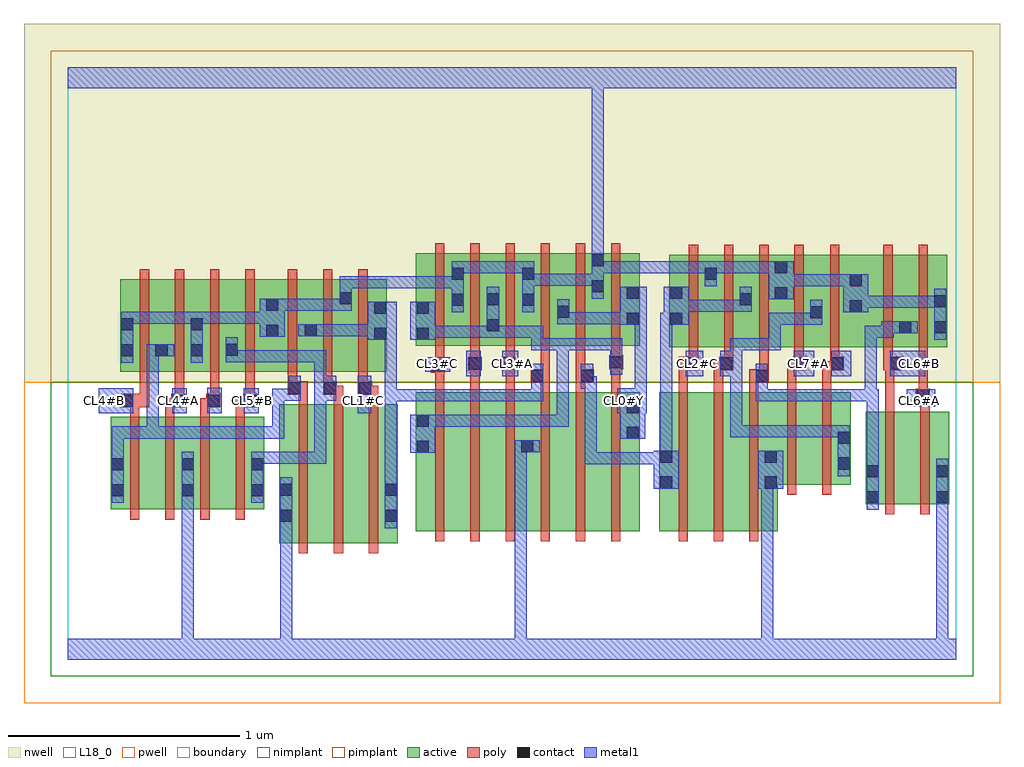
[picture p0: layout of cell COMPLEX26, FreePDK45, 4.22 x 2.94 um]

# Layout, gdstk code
import gdstk
lib = gdstk.Library(unit=1e-6, precision=1e-09)
def R(c, l, rs):  # rectangles x0, y0, x1, y1
    for r in rs: c.add(gdstk.rectangle(r[:2], r[2:], *l))
def A(c, l, x, y, w, h, nx, ny, dx, dy):  # array of equal rectangles
    R(c, l, [(x+i*dx, y+j*dy, x+i*dx+w, y+j*dy+h) for i in range(nx) for j in range(ny)])
active = (1, 0)
pwell = (2, 0)
nwell = (3, 0)
nimplant = (4, 0)
pimplant = (5, 0)
poly = (9, 0)
contact = (10, 0)
metal1 = (11, 0)
L18_0 = (18, 0)
boundary = (235, 0)

complex26 = lib.new_cell('COMPLEX26')
A(complex26, active, 2.748, 1.35, 0.212, 0.4, 3, 1, 0.152, 0)
A(complex26, active, 1.504, 1.356, 0.212, 0.4, 4, 1, 0.152, 0)
R(complex26, active, [(0.914,0.504,0.974,1.104), (0.914,0.504,1.094,1.104), (1.094,0.504,1.246,1.104), (1.246,0.504,1.426,1.104), (1.366,0.504,1.426,1.104), (1.504,0.556,1.564,1.156), (1.504,0.556,1.684,1.156), (1.684,0.556,1.836,1.156), (1.836,0.556,2.016,1.156), (1.956,0.556,2.016,1.156), (1.956,0.556,2.14,1.156), (2.14,0.556,2.292,1.156), (2.292,0.556,2.472,1.156), (2.412,0.556,2.472,1.156), (2.556,0.556,2.616,1.156), (2.556,0.556,2.736,1.156), (2.736,0.556,2.888,1.156), (2.888,0.556,3.068,1.156), (3.008,0.556,3.068,1.156), (0.186,0.65,0.366,1.05), (0.366,0.65,0.55,1.05), (0.49,0.65,0.55,1.05), (0.49,0.65,0.67,1.05), (0.67,0.65,0.85,1.05), (0.79,0.65,0.85,1.05), (3.448,0.672,3.508,1.072), (3.448,0.672,3.628,1.072), (3.628,0.672,3.808,1.072), (3.748,0.672,3.808,1.072), (0.186,0.702,0.246,1.05), (3.008,0.756,3.204,1.156), (3.204,0.756,3.384,1.156), (3.324,0.756,3.384,1.156), (0.228,1.244,0.288,1.644), (0.228,1.244,0.436,1.644), (0.376,1.244,0.436,1.644), (0.376,1.244,0.588,1.644), (0.528,1.244,0.74,1.644), (0.68,1.244,0.914,1.644), (0.854,1.244,0.914,1.644), (0.854,1.244,1.08,1.644), (1.02,1.244,1.232,1.644), (1.172,1.244,1.232,1.644), (1.172,1.244,1.38,1.644), (1.32,1.244,1.38,1.644), (0.528,1.308,0.588,1.644), (0.68,1.31,0.74,1.644), (2.6,1.35,2.66,1.75), (2.6,1.35,2.808,1.75), (3.204,1.35,3.434,1.75), (3.374,1.35,3.648,1.75), (3.588,1.35,3.8,1.75), (3.74,1.35,3.8,1.75), (1.504,1.356,1.564,1.756), (1.808,1.356,1.868,1.756), (2.112,1.356,2.32,1.756), (2.26,1.356,2.472,1.756), (2.412,1.356,2.472,1.644), (1.02,1.394,1.08,1.644), (3.588,1.406,3.648,1.644), (1.96,1.444,2.02,1.756), (1.656,1.47,1.716,1.756), (2.112,1.472,2.172,1.756), (2.26,1.472,2.32,1.756), (3.204,1.472,3.264,1.644), (3.374,1.49,3.434,1.75), (3.052,1.498,3.112,1.726), (2.9,1.528,2.96,1.644), (2.748,1.554,2.808,1.75)])
R(complex26, pwell, [(-0.188,-0.188,4.028,1.2)])
R(complex26, nwell, [(-0.188,1.2,4.028,2.748)])
R(complex26, nimplant, [(-0.072,-0.072,3.912,1.2)])
R(complex26, pimplant, [(-0.072,1.2,3.912,2.632)])
A(complex26, poly, 0.998, 0.46, 0.04, 0.688, 3, 1, 0.152, 0)
A(complex26, poly, 1.588, 0.512, 0.04, 0.688, 6, 1, 0.152, 0)
A(complex26, poly, 2.64, 0.512, 0.04, 0.688, 3, 1, 0.152, 0)
A(complex26, poly, 0.27, 0.606, 0.04, 0.488, 4, 1, 0.152, 0)
A(complex26, poly, 0.27, 1.054, 0.04, 0.076, 4, 1, 0.152, 0)
A(complex26, poly, 0.998, 1.108, 0.04, 0.076, 3, 1, 0.152, 0)
A(complex26, poly, 0.312, 1.11, 0.04, 0.13, 4, 1, 0.152, 0)
A(complex26, poly, 0.952, 1.164, 0.04, 0.076, 3, 1, 0.152, 0)
A(complex26, poly, 0.312, 1.2, 0.04, 0.488, 4, 1, 0.152, 0)
A(complex26, poly, 0.952, 1.2, 0.04, 0.488, 3, 1, 0.152, 0)
A(complex26, poly, 2.684, 1.306, 0.04, 0.488, 4, 1, 0.152, 0)
A(complex26, poly, 1.588, 1.312, 0.04, 0.488, 6, 1, 0.152, 0)
R(complex26, poly, [(3.532,0.628,3.572,1.116), (3.684,0.628,3.724,1.116), (3.108,0.712,3.148,1.2), (3.26,0.712,3.3,1.2), (3.532,1.076,3.572,1.29), (3.684,1.076,3.724,1.152), (0.228,1.09,0.352,1.15), (0.27,1.09,0.31,1.13), (0.27,1.09,0.31,1.13), (0.422,1.09,0.488,1.13), (0.448,1.09,0.488,1.13), (0.448,1.09,0.508,1.15), (0.574,1.09,0.64,1.13), (0.6,1.09,0.64,1.13), (0.6,1.09,0.66,1.15), (0.726,1.09,0.8,1.13), (0.76,1.09,0.8,1.13), (0.76,1.09,0.82,1.15), (3.664,1.112,3.724,1.172), (3.676,1.132,3.716,1.346), (3.676,1.132,3.716,1.172), (3.676,1.132,3.716,1.172), (0.952,1.144,1.038,1.204), (1.104,1.144,1.164,1.204), (1.124,1.144,1.164,1.184), (1.124,1.144,1.19,1.184), (1.256,1.144,1.316,1.204), (1.276,1.144,1.316,1.184), (1.276,1.144,1.342,1.184), (1.588,1.16,1.628,1.28), (1.74,1.16,1.78,1.29), (1.892,1.16,1.932,1.29), (2.044,1.16,2.084,1.236), (2.196,1.16,2.236,1.236), (2.348,1.16,2.388,1.296), (2.64,1.16,2.68,1.29), (2.792,1.16,2.832,1.29), (2.944,1.16,2.984,1.236), (3.108,1.16,3.148,1.29), (3.26,1.16,3.3,1.29), (0.952,1.164,0.992,1.204), (0.952,1.164,0.992,1.204), (2,1.196,2.084,1.256), (2.196,1.196,2.274,1.256), (2.944,1.196,3.028,1.256), (2.044,1.216,2.084,1.256), (2.044,1.216,2.084,1.256), (2.044,1.216,2.084,1.352), (2.196,1.216,2.236,1.256), (2.196,1.216,2.236,1.256), (2.196,1.216,2.236,1.352), (2.988,1.216,3.028,1.256), (2.988,1.216,3.028,1.256), (2.988,1.216,3.028,1.346), (1.57,1.24,1.63,1.3), (1.588,1.24,1.628,1.28), (1.588,1.24,1.628,1.28), (1.73,1.25,1.79,1.31), (1.74,1.25,1.78,1.29), (1.74,1.25,1.78,1.29), (1.874,1.25,1.934,1.31), (1.892,1.25,1.932,1.29), (1.892,1.25,1.932,1.29), (2.64,1.25,2.726,1.31), (2.792,1.25,2.856,1.29), (2.816,1.25,2.856,1.29), (2.816,1.25,2.876,1.31), (3.108,1.25,3.174,1.29), (3.134,1.25,3.174,1.29), (3.134,1.25,3.194,1.31), (3.26,1.25,3.334,1.29), (3.294,1.25,3.334,1.29), (3.294,1.25,3.354,1.31), (3.524,1.25,3.61,1.31), (3.532,1.25,3.572,1.29), (3.532,1.25,3.572,1.29), (2.34,1.256,2.4,1.316), (2.348,1.256,2.388,1.296), (2.348,1.256,2.388,1.296), (1.588,1.26,1.628,1.352), (1.74,1.27,1.78,1.352), (1.892,1.27,1.932,1.352), (2.684,1.27,2.724,1.31), (2.684,1.27,2.724,1.31), (2.684,1.27,2.724,1.346), (2.836,1.27,2.876,1.346), (3.14,1.27,3.18,1.346), (3.294,1.27,3.334,1.346), (3.524,1.27,3.564,1.346), (2.348,1.276,2.388,1.352), (3.294,1.306,3.334,1.794), (3.524,1.306,3.564,1.794), (3.676,1.306,3.716,1.794)])
A(complex26, contact, 0.956, 1.148, 0.052, 0.052, 3, 1, 0.152, 0)
R(complex26, contact, [(0.918,0.596,0.97,0.648), (1.37,0.596,1.422,0.648), (3.452,0.676,3.504,0.728), (3.752,0.676,3.804,0.728), (0.19,0.706,0.242,0.758), (0.494,0.706,0.546,0.758), (0.794,0.706,0.846,0.758), (0.918,0.708,0.97,0.76), (1.37,0.708,1.422,0.76), (2.56,0.74,2.612,0.792), (3.012,0.74,3.064,0.792), (3.452,0.788,3.504,0.84), (3.752,0.788,3.804,0.84), (0.19,0.818,0.242,0.87), (0.494,0.818,0.546,0.87), (0.794,0.818,0.846,0.87), (3.328,0.822,3.38,0.874), (2.56,0.852,2.612,0.904), (3.012,0.852,3.064,0.904), (1.508,0.894,1.56,0.946), (1.96,0.896,2.012,0.948), (3.328,0.934,3.38,0.986), (2.416,0.954,2.468,1.006), (1.508,1.006,1.56,1.058), (2.416,1.066,2.468,1.118), (0.232,1.094,0.284,1.146), (0.452,1.094,0.504,1.146), (0.604,1.094,0.656,1.146), (0.764,1.094,0.816,1.146), (3.668,1.116,3.72,1.168), (2.004,1.2,2.056,1.252), (2.218,1.2,2.27,1.252), (2.972,1.2,3.024,1.252), (1.574,1.244,1.626,1.296), (1.734,1.254,1.786,1.306), (1.878,1.254,1.93,1.306), (2.67,1.254,2.722,1.306), (2.82,1.254,2.872,1.306), (3.138,1.254,3.19,1.306), (3.298,1.254,3.35,1.306), (3.554,1.254,3.606,1.306), (2.344,1.26,2.396,1.312), (0.232,1.312,0.284,1.364), (0.38,1.312,0.432,1.364), (0.532,1.312,0.584,1.364), (0.684,1.314,0.736,1.366), (1.324,1.382,1.376,1.434), (1.508,1.382,1.56,1.434), (0.858,1.396,0.91,1.448), (1.024,1.398,1.076,1.45), (3.592,1.41,3.644,1.462), (3.744,1.41,3.796,1.462), (1.812,1.42,1.864,1.472), (0.232,1.424,0.284,1.476), (0.532,1.424,0.584,1.476), (2.416,1.448,2.468,1.5), (2.604,1.448,2.656,1.5), (3.208,1.476,3.26,1.528), (2.116,1.478,2.168,1.53), (1.324,1.494,1.376,1.546), (1.508,1.494,1.56,1.546), (3.378,1.502,3.43,1.554), (0.858,1.508,0.91,1.56), (3.744,1.522,3.796,1.574), (1.66,1.53,1.712,1.582), (1.964,1.53,2.016,1.582), (1.812,1.532,1.864,1.584), (2.904,1.532,2.956,1.584), (1.176,1.536,1.228,1.588), (3.056,1.558,3.108,1.61), (2.416,1.56,2.468,1.612), (2.604,1.56,2.656,1.612), (2.264,1.588,2.316,1.64), (3.378,1.614,3.43,1.666), (1.66,1.642,1.712,1.694), (1.964,1.642,2.016,1.694), (2.752,1.642,2.804,1.694), (3.056,1.67,3.108,1.722), (2.264,1.7,2.316,1.752)])
A(complex26, metal1, 2.004, 1.006, 0.052, 0.052, 1, 3, 0, 0.166)
R(complex26, metal1, [(0,0,3.84,0.092), (0.494,0.04,0.546,0.092), (0.494,0.04,0.546,0.092), (0.494,0.04,0.546,0.092), (0.494,0.04,0.546,0.092), (0.494,0.04,0.546,0.092), (0.494,0.04,0.546,0.092), (0.494,0.04,0.546,0.73), (0.918,0.04,0.97,0.092), (0.918,0.04,0.97,0.092), (0.918,0.04,0.97,0.62), (1.932,0.04,1.984,0.092), (1.932,0.04,1.984,0.092), (1.932,0.04,1.984,0.948), (2.996,0.04,3.048,0.092), (2.996,0.04,3.048,0.092), (2.996,0.04,3.048,0.792), (3.752,0.04,3.804,0.092), (3.752,0.04,3.804,0.092), (3.752,0.04,3.804,0.7), (0.918,0.568,0.97,0.62), (0.918,0.568,0.97,0.62), (0.918,0.568,0.97,0.62), (0.918,0.568,0.97,0.62), (0.918,0.568,0.97,0.62), (0.918,0.568,0.97,0.62), (0.918,0.568,0.97,0.788), (1.37,0.568,1.422,0.788), (3.452,0.648,3.504,0.868), (3.752,0.648,3.804,0.7), (3.752,0.648,3.804,0.7), (3.752,0.648,3.804,0.7), (3.752,0.648,3.804,0.7), (3.752,0.648,3.804,0.7), (3.752,0.648,3.804,0.7), (3.752,0.648,3.804,0.7), (3.752,0.648,3.804,0.7), (3.752,0.648,3.804,0.7), (3.752,0.648,3.804,0.7), (3.752,0.648,3.804,0.868), (0.19,0.678,0.242,0.898), (0.494,0.678,0.546,0.73), (0.494,0.678,0.546,0.73), (0.494,0.678,0.546,0.73), (0.494,0.678,0.546,0.73), (0.494,0.678,0.546,0.73), (0.494,0.678,0.546,0.73), (0.494,0.678,0.546,0.898), (0.794,0.678,0.846,0.898), (1.37,0.736,1.422,1.168), (2.532,0.74,2.64,0.904), (2.984,0.74,3.092,0.904), (2.996,0.74,3.048,0.792), (2.996,0.74,3.048,0.792), (2.996,0.74,3.048,0.792), (2.996,0.74,3.048,0.792), (2.996,0.74,3.048,0.792), (2.996,0.74,3.048,0.792), (3.328,0.794,3.38,1.014), (3.452,0.816,3.504,1.168), (2.234,0.844,2.286,0.896), (2.234,0.844,2.474,0.896), (2.234,0.844,2.286,1.224), (2.422,0.844,2.474,0.896), (2.422,0.844,2.474,0.896), (2.422,0.844,2.474,0.896), (2.422,0.844,2.584,0.896), (0.19,0.846,0.242,1.008), (0.794,0.846,0.846,0.898), (0.794,0.846,0.846,0.898), (0.794,0.846,1.008,0.898), (0.956,0.846,1.008,0.898), (0.956,0.846,1.118,0.898), (1.066,0.846,1.118,0.898), (1.066,0.846,1.118,0.898), (1.066,0.846,1.118,0.898), (1.066,0.846,1.118,1.228), (2.56,0.852,2.612,1.5), (1.48,0.894,1.588,1.058), (1.932,0.896,1.984,0.948), (1.932,0.896,1.984,0.948), (1.932,0.896,1.984,0.948), (1.932,0.896,1.984,0.948), (1.932,0.896,1.984,0.948), (1.932,0.896,1.984,0.948), (1.932,0.896,2.04,0.948), (2.388,0.954,2.496,1.118), (0.19,0.956,0.242,1.008), (0.19,0.956,0.242,1.008), (0.19,0.956,0.242,1.008), (0.19,0.956,0.394,1.008), (0.342,0.956,0.394,1.008), (0.342,0.956,0.394,1.008), (0.342,0.956,0.394,1.008), (0.342,0.956,0.504,1.008), (0.342,0.956,0.394,1.364), (0.452,0.956,0.504,1.008), (0.452,0.956,0.504,1.008), (0.452,0.956,0.504,1.008), (0.452,0.956,0.694,1.008), (0.642,0.956,0.694,1.008), (0.642,0.956,0.694,1.008), (0.642,0.956,0.694,1.008), (0.642,0.956,0.898,1.008), (0.846,0.956,0.898,1.008), (0.846,0.956,0.936,1.008), (0.884,0.956,0.936,1.172), (2.862,0.962,2.914,1.014), (2.862,0.962,2.914,1.014), (2.862,0.962,2.914,1.014), (2.862,0.962,3.08,1.014), (2.862,0.962,2.914,1.334), (3.028,0.962,3.08,1.014), (3.028,0.962,3.08,1.014), (3.028,0.962,3.08,1.014), (3.028,0.962,3.238,1.014), (3.186,0.962,3.238,1.014), (3.186,0.962,3.246,1.014), (3.194,0.962,3.246,1.014), (3.194,0.962,3.348,1.014), (3.296,0.962,3.348,1.014), (3.296,0.962,3.38,1.014), (1.536,1.006,1.588,1.058), (1.536,1.006,1.588,1.058), (1.536,1.006,1.754,1.058), (1.702,1.006,1.754,1.058), (1.702,1.006,1.754,1.058), (1.702,1.006,1.754,1.058), (1.702,1.006,1.874,1.058), (1.822,1.006,1.874,1.058), (1.822,1.006,1.874,1.058), (1.822,1.006,1.874,1.058), (1.822,1.006,2.056,1.058), (2.004,1.006,2.056,1.058), (2.004,1.006,2.056,1.058), (2.004,1.006,2.166,1.058), (2.114,1.006,2.166,1.058), (2.114,1.006,2.166,1.058), (2.114,1.006,2.166,1.058), (2.114,1.006,2.166,1.39), (0.134,1.066,0.284,1.174), (0.452,1.066,0.516,1.174), (0.604,1.066,0.666,1.176), (0.762,1.066,0.826,1.174), (1.254,1.066,1.312,1.228), (2.374,1.066,2.502,1.174), (2.394,1.066,2.446,1.118), (3.626,1.094,3.748,1.168), (1.37,1.116,1.422,1.168), (1.37,1.116,1.422,1.168), (1.37,1.116,1.422,1.168), (1.37,1.116,1.532,1.168), (1.37,1.116,1.422,1.434), (1.48,1.116,1.532,1.168), (1.48,1.116,1.532,1.168), (1.48,1.116,1.532,1.168), (1.48,1.116,1.754,1.168), (1.702,1.116,1.754,1.168), (1.702,1.116,1.754,1.168), (1.702,1.116,1.754,1.168), (1.702,1.116,1.874,1.168), (1.822,1.116,1.874,1.168), (1.822,1.116,1.874,1.168), (1.822,1.116,1.874,1.168), (1.822,1.116,2.056,1.168), (2.004,1.116,2.056,1.224), (2.972,1.116,3.024,1.224), (2.972,1.116,3.238,1.168), (3.186,1.116,3.238,1.168), (3.186,1.116,3.27,1.168), (3.218,1.116,3.27,1.168), (3.218,1.116,3.348,1.168), (3.296,1.116,3.348,1.168), (3.296,1.116,3.38,1.168), (3.328,1.116,3.38,1.168), (3.328,1.116,3.496,1.168), (3.444,1.116,3.496,1.168), (3.444,1.116,3.496,1.168), (3.444,1.116,3.496,1.444), (3.444,1.116,3.504,1.168), (0.884,1.12,1.008,1.172), (0.956,1.12,1.008,1.228), (1.108,1.12,1.16,1.228), (2.45,1.122,2.502,1.174), (2.45,1.122,2.502,1.174), (2.45,1.122,2.502,1.5), (2.004,1.172,2.056,1.28), (2.218,1.172,2.27,1.28), (2.218,1.172,2.286,1.224), (2.234,1.172,2.286,1.224), (2.234,1.172,2.286,1.224), (2.234,1.172,2.286,1.224), (2.972,1.172,3.024,1.224), (2.972,1.172,3.024,1.28), (1.066,1.176,1.118,1.338), (1.066,1.176,1.16,1.228), (1.722,1.226,1.786,1.334), (1.878,1.226,1.946,1.334), (2.67,1.226,2.746,1.334), (2.82,1.226,2.872,1.334), (3.138,1.226,3.226,1.334), (3.298,1.226,3.386,1.334), (3.554,1.226,3.706,1.334), (2.344,1.232,2.396,1.39), (1.546,1.244,1.654,1.306), (2.82,1.282,2.914,1.334), (2.862,1.282,2.914,1.39), (0.232,1.284,0.284,1.504), (0.532,1.284,0.584,1.504), (0.684,1.286,0.736,1.338), (0.684,1.286,0.736,1.338), (0.684,1.286,0.846,1.338), (0.684,1.286,0.736,1.394), (0.794,1.286,0.846,1.338), (0.794,1.286,0.936,1.338), (0.884,1.286,0.936,1.338), (0.884,1.286,0.936,1.338), (0.884,1.286,0.936,1.338), (0.884,1.286,1.008,1.338), (0.956,1.286,1.008,1.338), (0.956,1.286,1.118,1.338), (0.342,1.312,0.394,1.364), (0.342,1.312,0.394,1.364), (0.342,1.312,0.46,1.364), (2.004,1.338,2.056,1.39), (2.004,1.338,2.056,1.39), (2.004,1.338,2.166,1.39), (2.004,1.338,2.056,1.444), (2.114,1.338,2.166,1.39), (2.114,1.338,2.166,1.39), (2.114,1.338,2.166,1.39), (2.114,1.338,2.316,1.39), (2.264,1.338,2.316,1.39), (2.264,1.338,2.396,1.39), (2.862,1.338,3.08,1.39), (3.028,1.338,3.08,1.39), (3.028,1.338,3.08,1.39), (3.028,1.338,3.08,1.39), (3.028,1.338,3.08,1.5), (1.296,1.382,1.422,1.546), (1.48,1.382,1.588,1.546), (3.744,1.382,3.796,1.602), (1.536,1.392,1.588,1.444), (1.536,1.392,1.588,1.444), (1.536,1.392,1.698,1.444), (1.646,1.392,1.698,1.444), (1.646,1.392,1.698,1.444), (1.646,1.392,1.698,1.444), (1.646,1.392,1.864,1.444), (1.812,1.392,1.864,1.444), (1.812,1.392,1.864,1.444), (1.812,1.392,1.864,1.612), (1.812,1.392,2.056,1.444), (2.004,1.392,2.056,1.444), (3.444,1.392,3.496,1.444), (3.444,1.392,3.568,1.444), (3.516,1.392,3.568,1.462), (0.83,1.396,0.938,1.56), (0.996,1.398,1.104,1.45), (1.052,1.398,1.118,1.45), (1.066,1.398,1.118,1.45), (1.066,1.398,1.228,1.45), (1.176,1.398,1.228,1.45), (1.176,1.398,1.348,1.45), (1.296,1.398,1.348,1.45), (1.296,1.398,1.348,1.45), (3.516,1.41,3.616,1.462), (3.564,1.41,3.672,1.462), (2.388,1.448,2.502,1.612), (2.56,1.448,2.612,1.5), (2.56,1.448,2.612,1.5), (2.56,1.448,2.612,1.5), (2.56,1.448,2.612,1.5), (2.56,1.448,2.628,1.5), (2.576,1.448,2.628,1.5), (2.576,1.448,2.684,1.612), (3.028,1.448,3.08,1.5), (3.028,1.448,3.238,1.5), (3.186,1.448,3.238,1.5), (3.186,1.448,3.26,1.5), (3.208,1.448,3.26,1.556), (2.116,1.45,2.278,1.502), (2.116,1.45,2.168,1.558), (2.226,1.45,2.278,1.502), (2.226,1.45,2.278,1.502), (2.226,1.45,2.278,1.502), (2.226,1.45,2.44,1.502), (2.388,1.45,2.44,1.502), (2.388,1.45,2.44,1.502), (0.232,1.452,0.284,1.504), (0.232,1.452,0.284,1.504), (0.232,1.452,0.394,1.504), (0.342,1.452,0.394,1.504), (0.342,1.452,0.394,1.504), (0.342,1.452,0.394,1.504), (0.342,1.452,0.584,1.504), (0.532,1.452,0.584,1.504), (0.532,1.452,0.584,1.504), (0.532,1.452,0.694,1.504), (0.642,1.452,0.694,1.504), (0.642,1.452,0.694,1.504), (0.642,1.452,0.694,1.504), (0.642,1.452,0.882,1.504), (0.83,1.452,0.882,1.504), (0.83,1.452,0.882,1.504), (1.66,1.502,1.712,1.722), (1.964,1.502,2.016,1.722), (3.35,1.502,3.458,1.666), (2.632,1.504,2.684,1.556), (2.632,1.504,2.684,1.556), (2.632,1.504,2.804,1.556), (2.752,1.504,2.804,1.556), (2.752,1.504,2.804,1.556), (2.752,1.504,2.804,1.556), (2.752,1.504,2.956,1.556), (2.904,1.504,2.956,1.612), (0.886,1.508,1.008,1.56), (0.956,1.508,1.008,1.56), (0.956,1.508,1.118,1.56), (1.066,1.508,1.118,1.56), (1.066,1.508,1.118,1.56), (1.066,1.508,1.118,1.56), (1.066,1.508,1.228,1.56), (1.176,1.508,1.228,1.616), (3.406,1.52,3.458,1.572), (3.406,1.52,3.458,1.572), (3.406,1.52,3.568,1.572), (3.516,1.52,3.568,1.572), (3.516,1.52,3.686,1.572), (3.634,1.52,3.686,1.572), (3.634,1.52,3.796,1.572), (3.744,1.52,3.796,1.572), (3.744,1.52,3.796,1.572), (3.028,1.558,3.136,1.722), (2.264,1.56,2.316,1.78), (1.176,1.564,1.228,1.616), (1.176,1.564,1.228,1.656), (1.176,1.604,1.338,1.656), (1.286,1.604,1.338,1.656), (1.286,1.604,1.532,1.656), (1.48,1.604,1.532,1.656), (1.48,1.604,1.532,1.656), (1.48,1.604,1.532,1.656), (1.48,1.604,1.712,1.656), (2.752,1.614,2.804,1.722), (3.084,1.614,3.238,1.666), (3.186,1.614,3.238,1.666), (3.186,1.614,3.246,1.666), (3.194,1.614,3.246,1.666), (3.194,1.614,3.348,1.666), (3.296,1.614,3.348,1.666), (3.296,1.614,3.402,1.666), (1.964,1.616,2.056,1.668), (2.004,1.616,2.056,1.668), (2.004,1.616,2.166,1.668), (2.114,1.616,2.166,1.668), (2.114,1.616,2.166,1.668), (2.114,1.616,2.166,1.668), (2.114,1.616,2.316,1.668), (1.66,1.67,1.712,1.722), (1.66,1.67,1.712,1.722), (1.66,1.67,1.874,1.722), (1.822,1.67,1.874,1.722), (1.822,1.67,1.874,1.722), (1.822,1.67,1.874,1.722), (1.822,1.67,2.016,1.722), (2.264,1.67,2.426,1.722), (2.374,1.67,2.426,1.722), (2.374,1.67,2.426,1.722), (2.374,1.67,2.426,1.722), (2.374,1.67,2.612,1.722), (2.56,1.67,2.612,1.722), (2.56,1.67,2.612,1.722), (2.56,1.67,2.612,1.722), (2.56,1.67,2.804,1.722), (2.752,1.67,2.804,1.722), (2.752,1.67,2.804,1.722), (2.752,1.67,2.914,1.722), (2.862,1.67,2.914,1.722), (2.862,1.67,3.08,1.722), (3.028,1.67,3.08,1.722), (3.028,1.67,3.08,1.722), (2.264,1.728,2.316,1.78), (2.264,1.728,2.316,1.78), (2.264,1.728,2.316,1.78), (2.264,1.728,2.316,1.78), (2.264,1.728,2.316,1.78), (2.264,1.728,2.316,1.78), (2.264,1.728,2.316,1.78), (2.264,1.728,2.316,1.78), (2.264,1.728,2.316,2.52), (0,2.468,3.84,2.56), (2.264,2.468,2.316,2.52), (2.264,2.468,2.316,2.52), (2.264,2.468,2.316,2.52), (2.264,2.468,2.316,2.52), (2.264,2.468,2.316,2.52), (2.264,2.468,2.316,2.52), (2.264,2.468,2.316,2.52), (2.264,2.468,2.316,2.52)])
A(complex26, L18_0, 0.454, 1.094, 0.052, 0.052, 3, 1, 0.16, 0)
A(complex26, L18_0, 1.574, 1.254, 0.052, 0.052, 3, 1, 0.16, 0)
R(complex26, L18_0, [(0,0,3.84,0.092), (0.494,0.04,0.546,0.092), (0.494,0.04,0.546,0.092), (0.494,0.04,0.546,0.092), (0.494,0.04,0.546,0.092), (0.494,0.04,0.546,0.092), (0.494,0.04,0.546,0.092), (0.494,0.04,0.546,0.73), (0.918,0.04,0.97,0.092), (0.918,0.04,0.97,0.092), (0.918,0.04,0.97,0.62), (1.932,0.04,1.984,0.092), (1.932,0.04,1.984,0.092), (1.932,0.04,1.984,0.948), (2.996,0.04,3.048,0.092), (2.996,0.04,3.048,0.092), (2.996,0.04,3.048,0.792), (3.752,0.04,3.804,0.092), (3.752,0.04,3.804,0.092), (3.752,0.04,3.804,0.7), (0.918,0.568,0.97,0.788), (0.918,0.568,0.97,0.62), (0.918,0.568,0.97,0.62), (0.918,0.568,0.97,0.62), (0.918,0.568,0.97,0.62), (0.918,0.568,0.97,0.62), (0.918,0.568,0.97,0.62), (3.752,0.648,3.804,0.868), (3.752,0.648,3.804,0.7), (3.752,0.648,3.804,0.7), (3.752,0.648,3.804,0.7), (3.752,0.648,3.804,0.7), (3.752,0.648,3.804,0.7), (3.752,0.648,3.804,0.7), (3.752,0.648,3.804,0.7), (3.752,0.648,3.804,0.7), (3.752,0.648,3.804,0.7), (3.752,0.648,3.804,0.7), (0.494,0.678,0.546,0.898), (0.494,0.678,0.546,0.73), (0.494,0.678,0.546,0.73), (0.494,0.678,0.546,0.73), (0.494,0.678,0.546,0.73), (0.494,0.678,0.546,0.73), (0.494,0.678,0.546,0.73), (2.984,0.74,3.092,0.904), (2.996,0.74,3.048,0.792), (2.996,0.74,3.048,0.792), (2.996,0.74,3.048,0.792), (2.996,0.74,3.048,0.792), (2.996,0.74,3.048,0.792), (2.996,0.74,3.048,0.792), (1.932,0.896,1.984,0.948), (1.932,0.896,1.984,0.948), (1.932,0.896,1.984,0.948), (1.932,0.896,1.984,0.948), (1.932,0.896,1.984,0.948), (1.932,0.896,1.984,0.948), (1.932,0.896,2.04,0.948), (2.388,0.954,2.496,1.118), (0.134,1.066,0.284,1.174), (0.452,1.066,0.516,1.174), (0.604,1.066,0.666,1.176), (0.762,1.066,0.826,1.174), (1.254,1.066,1.312,1.228), (2.374,1.066,2.502,1.174), (2.394,1.066,2.446,1.118), (0.134,1.094,0.186,1.146), (1.254,1.094,1.306,1.146), (2.374,1.094,2.426,1.146), (3.626,1.094,3.748,1.168), (3.654,1.094,3.706,1.146), (2.45,1.122,2.502,1.174), (2.45,1.122,2.502,1.174), (2.45,1.122,2.502,1.5), (1.722,1.226,1.786,1.334), (1.878,1.226,1.946,1.334), (2.67,1.226,2.746,1.334), (3.138,1.226,3.226,1.334), (3.298,1.226,3.386,1.334), (3.554,1.226,3.706,1.334), (1.546,1.244,1.654,1.306), (2.694,1.254,2.746,1.306), (3.174,1.254,3.226,1.306), (3.334,1.254,3.386,1.306), (3.654,1.254,3.706,1.306), (0.232,1.284,0.284,1.504), (0.532,1.284,0.584,1.504), (3.744,1.382,3.796,1.602), (0.83,1.396,0.938,1.56), (2.388,1.448,2.502,1.612), (2.116,1.45,2.278,1.502), (2.116,1.45,2.168,1.558), (2.226,1.45,2.278,1.502), (2.226,1.45,2.278,1.502), (2.226,1.45,2.278,1.502), (2.226,1.45,2.44,1.502), (2.388,1.45,2.44,1.502), (2.388,1.45,2.44,1.502), (0.232,1.452,0.284,1.504), (0.232,1.452,0.284,1.504), (0.232,1.452,0.394,1.504), (0.342,1.452,0.394,1.504), (0.342,1.452,0.394,1.504), (0.342,1.452,0.394,1.504), (0.342,1.452,0.584,1.504), (0.532,1.452,0.584,1.504), (0.532,1.452,0.584,1.504), (0.532,1.452,0.694,1.504), (0.642,1.452,0.694,1.504), (0.642,1.452,0.694,1.504), (0.642,1.452,0.694,1.504), (0.642,1.452,0.882,1.504), (0.83,1.452,0.882,1.504), (0.83,1.452,0.882,1.504), (1.66,1.502,1.712,1.722), (1.964,1.502,2.016,1.722), (3.35,1.502,3.458,1.666), (0.886,1.508,1.008,1.56), (0.956,1.508,1.008,1.56), (0.956,1.508,1.118,1.56), (1.066,1.508,1.118,1.56), (1.066,1.508,1.118,1.56), (1.066,1.508,1.118,1.56), (1.066,1.508,1.228,1.56), (1.176,1.508,1.228,1.616), (3.406,1.52,3.458,1.572), (3.406,1.52,3.458,1.572), (3.406,1.52,3.568,1.572), (3.516,1.52,3.568,1.572), (3.516,1.52,3.686,1.572), (3.634,1.52,3.686,1.572), (3.634,1.52,3.796,1.572), (3.744,1.52,3.796,1.572), (3.744,1.52,3.796,1.572), (3.028,1.558,3.136,1.722), (2.264,1.56,2.316,1.78), (1.176,1.564,1.228,1.616), (1.176,1.564,1.228,1.656), (1.176,1.604,1.338,1.656), (1.286,1.604,1.338,1.656), (1.286,1.604,1.532,1.656), (1.48,1.604,1.532,1.656), (1.48,1.604,1.532,1.656), (1.48,1.604,1.532,1.656), (1.48,1.604,1.712,1.656), (2.752,1.614,2.804,1.722), (3.084,1.614,3.238,1.666), (3.186,1.614,3.238,1.666), (3.186,1.614,3.246,1.666), (3.194,1.614,3.246,1.666), (3.194,1.614,3.348,1.666), (3.296,1.614,3.348,1.666), (3.296,1.614,3.402,1.666), (1.964,1.616,2.056,1.668), (2.004,1.616,2.056,1.668), (2.004,1.616,2.166,1.668), (2.114,1.616,2.166,1.668), (2.114,1.616,2.166,1.668), (2.114,1.616,2.166,1.668), (2.114,1.616,2.316,1.668), (1.66,1.67,1.712,1.722), (1.66,1.67,1.712,1.722), (1.66,1.67,1.874,1.722), (1.822,1.67,1.874,1.722), (1.822,1.67,1.874,1.722), (1.822,1.67,1.874,1.722), (1.822,1.67,2.016,1.722), (2.264,1.67,2.426,1.722), (2.374,1.67,2.426,1.722), (2.374,1.67,2.426,1.722), (2.374,1.67,2.426,1.722), (2.374,1.67,2.612,1.722), (2.56,1.67,2.612,1.722), (2.56,1.67,2.612,1.722), (2.56,1.67,2.612,1.722), (2.56,1.67,2.804,1.722), (2.752,1.67,2.804,1.722), (2.752,1.67,2.804,1.722), (2.752,1.67,2.914,1.722), (2.862,1.67,2.914,1.722), (2.862,1.67,3.08,1.722), (3.028,1.67,3.08,1.722), (3.028,1.67,3.08,1.722), (2.264,1.728,2.316,1.78), (2.264,1.728,2.316,1.78), (2.264,1.728,2.316,1.78), (2.264,1.728,2.316,1.78), (2.264,1.728,2.316,1.78), (2.264,1.728,2.316,1.78), (2.264,1.728,2.316,1.78), (2.264,1.728,2.316,1.78), (2.264,1.728,2.316,2.52), (0,2.468,3.84,2.56), (2.264,2.468,2.316,2.52), (2.264,2.468,2.316,2.52), (2.264,2.468,2.316,2.52), (2.264,2.468,2.316,2.52), (2.264,2.468,2.316,2.52), (2.264,2.468,2.316,2.52), (2.264,2.468,2.316,2.52), (2.264,2.468,2.316,2.52)])
R(complex26, boundary, [(0,0,3.84,2.56)])
complex26.add(gdstk.Label('CL0#Y', (2.4,1.12), layer=11, texttype=0))
complex26.add(gdstk.Label('CL1#C', (1.28,1.12), layer=11, texttype=0))
complex26.add(gdstk.Label('CL2#C', (2.72,1.28), layer=11, texttype=0))
complex26.add(gdstk.Label('CL3#A', (1.92,1.28), layer=11, texttype=0))
complex26.add(gdstk.Label('CL3#B', (1.76,1.28), layer=11, texttype=0))
complex26.add(gdstk.Label('CL3#C', (1.6,1.28), layer=11, texttype=0))
complex26.add(gdstk.Label('CL4#A', (0.48,1.12), layer=11, texttype=0))
complex26.add(gdstk.Label('CL4#B', (0.16,1.12), layer=11, texttype=0))
complex26.add(gdstk.Label('CL5#A', (0.64,1.12), layer=11, texttype=0))
complex26.add(gdstk.Label('CL5#B', (0.8,1.12), layer=11, texttype=0))
complex26.add(gdstk.Label('CL6#A', (3.68,1.12), layer=11, texttype=0))
complex26.add(gdstk.Label('CL6#B', (3.68,1.28), layer=11, texttype=0))
complex26.add(gdstk.Label('CL7#A', (3.2,1.28), layer=11, texttype=0))
complex26.add(gdstk.Label('CL7#B', (3.36,1.28), layer=11, texttype=0))

lib.write_gds('COMPLEX26.gds')
